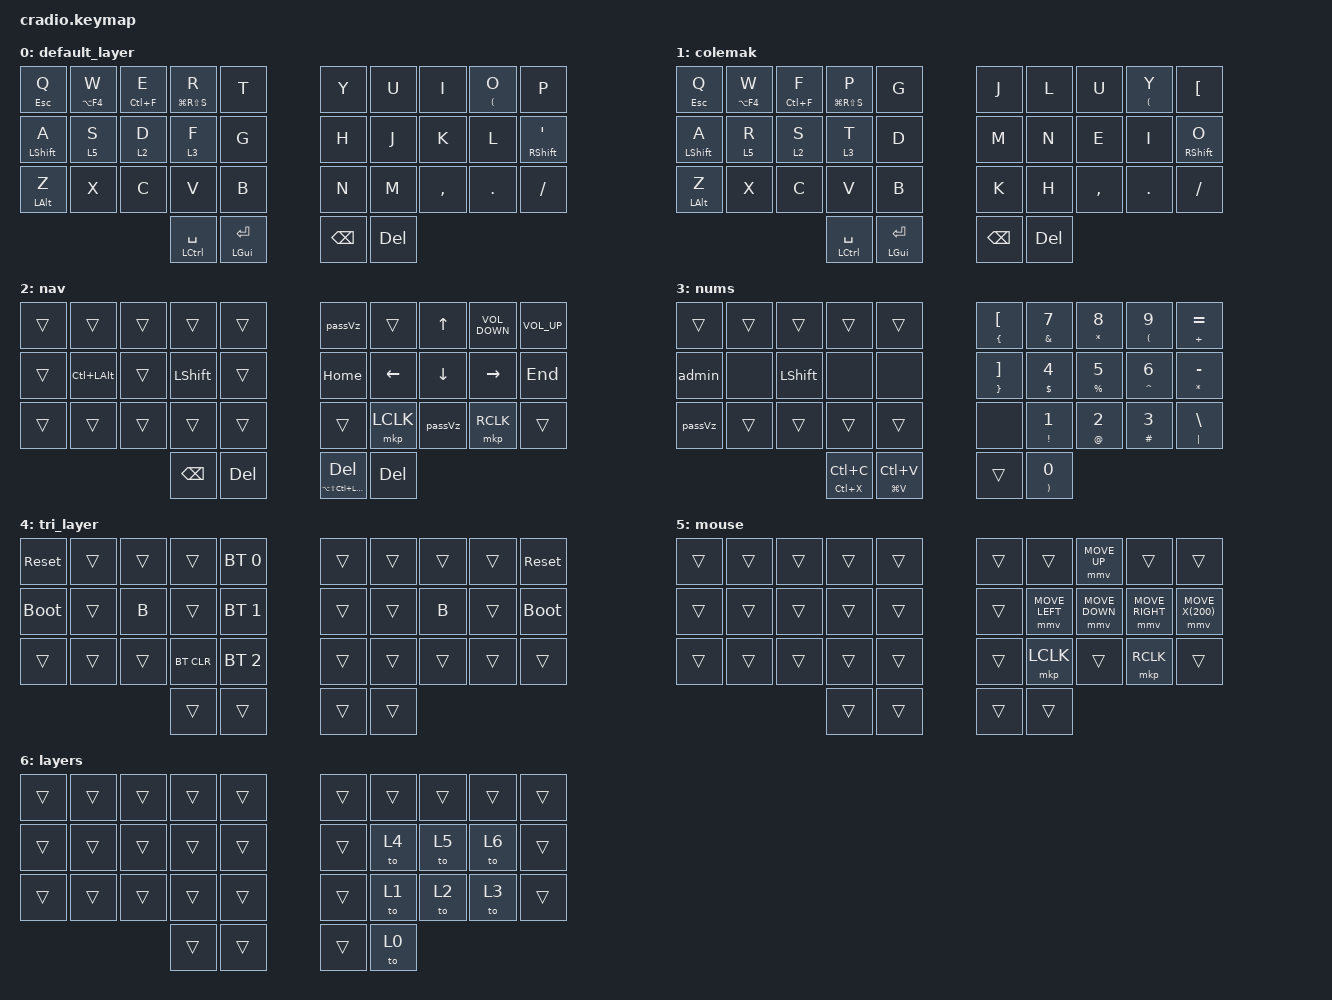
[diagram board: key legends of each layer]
// Copyright (c) 2022 The ZMK Contributors
// SPDX-License-Identifier: MIT

#define ZMK_POINTING_DEFAULT_MOVE_VAL 1500  // default: 1500
#define ZMK_POINTING_DEFAULT_SCRL_VAL 30    // default: 20

#include <behaviors.dtsi>
#include <dt-bindings/zmk/bt.h>
#include <dt-bindings/zmk/keys.h>
#include <dt-bindings/zmk/pointing.h>

// Home row mods macro

#define HRML(k1,k2,k3,k4) &ht LSHFT k1  &ht LALT k2  &ht LCTRL k3  &ht LGUI k4
#define HRMR(k1,k2,k3,k4) &ht RGUI k1  &ht RCTRL k2  &ht RALT k3  &ht RSHFT k4

/ {
    behaviors {
        ht: hold_tap {
            compatible = "zmk,behavior-hold-tap";
            #binding-cells = <2>;
            flavor = "tap-preferred";
            tapping-term-ms = <240>;
            quick-tap-ms = <220>;
            require-prior-idle-ms = <100>;
            bindings = <&kp>, <&kp>;
        };
    };

    conditional_layers {
        compatible = "zmk,conditional-layers";

        tri_layer {
            if-layers = <2 3>;
            then-layer = <4>;
        };
    };

    combos {
        compatible = "zmk,combos";

        ltab {
            bindings = <&kp LS(TAB)>;
            key-positions = <17 16>;
        };

        tab {
            bindings = <&kp TAB>;
            key-positions = <17 18>;
            layers = <2 0 4 6>;
        };

        winLeft {
            bindings = <&kp LG(LEFT_ARROW)>;
            key-positions = <11 12>;
            layers = <0 2 4 3 6>;
        };

        winRight {
            bindings = <&kp LG(RIGHT_ARROW)>;
            key-positions = <12 13>;
        };

        pv {
            bindings = <&kp SEMI>;
            key-positions = <27 28>;
        };

        quotes {
            bindings = <&kp SQT>;
            key-positions = <18 19>;
        };

        to-nav {
            bindings = <&to 0>;
            key-positions = <16 17 18>;
            layers = <1 0>;
        };

        to-default {
            bindings = <&to 0>;
            key-positions = <16 17 18>;
            layers = <2>;
        };

        to-layers {
            bindings = <&to 6>;
            key-positions = <9 19 29>;
        };

        win-right {
            bindings = <&kp LG(RIGHT)>;
            key-positions = <7 8>;
        };

        win-left {
            bindings = <&kp LG(LEFT_ARROW)>;
            key-positions = <7 6>;
        };

        caps {
            bindings = <&kp CAPSLOCK>;
            key-positions = <10 11>;
        };

        all-windows {
            bindings = <&kp LA(TAB)>;
            key-positions = <13 12 11>;
        };

        defaultLayer {
            bindings = <&none>;
            key-positions = <0 10 20>;
        };

        winUp {
            bindings = <&kt LG(UP_ARROW)>;
            key-positions = <1 2 3>;
        };

        winDown {
            bindings = <&kp LG(DOWN_ARROW)>;
            key-positions = <21 22 23>;
        };
    };

    macros {
        pass: new_macro {
            compatible = "zmk,behavior-macro";
            #binding-cells = <0>;
            bindings = <&kp U &kp S &kp E &kp R &kp P &kp E &kp P &kp N3 &kp N &kp STAR>;
            label = "NEW_MACRO";
        };

        passVz: pass {
            compatible = "zmk,behavior-macro";
            #binding-cells = <0>;
            bindings = <&kp U &kp S &kp E &kp R &kp P &kp E &kp P &kp N3 &kp N &kp STAR &kp LS(V) &kp LS(T) &kp N2 &kp N5 &kp N0 &kp N8 &kp N0 &kp N4>;
            label = "PASS";
        };

        admin: admin {
            compatible = "zmk,behavior-macro";
            #binding-cells = <0>;
            bindings = <&kp A &kp D &kp M &kp I &kp N &kp TAB &kp A &kp D &kp M &kp I &kp N &kp ENTER>;
            label = "ADMIN";
        };
    };

    keymap {
        compatible = "zmk,keymap";

        default_layer {
            bindings = <
&mt ESC Q         &mt LA(F4) W  &mt LC(F) E  &mt LG(RS(S)) R         &kp T                 &kp Y          &kp U       &kp I      &mt LPAR O  &kp P
&mt LEFT_SHIFT A  &lt 5 S       &lt 2 D      &lt 3 F                 &kp G                 &kp H          &kp J       &kp K      &kp L       &mt RSHFT SQT
&mt LEFT_ALT Z    &kp X         &kp C        &kp V                   &kp B                 &kp N          &kp M       &kp COMMA  &kp DOT     &kp FSLH
                                             &mt LEFT_CONTROL SPACE  &mt LEFT_GUI ENTER    &kp BACKSPACE  &kp DELETE
            >;
        };

        colemak {
            bindings = <
&mt ESC Q         &mt LA(F4) W  &mt LC(F) F  &mt LG(RS(S)) P         &kp G                 &kp J          &kp L       &kp U      &mt LPAR Y  &kp LBKT
&mt LEFT_SHIFT A  &lt 5 R       &lt 2 S      &lt 3 T                 &kp D                 &kp M          &kp N       &kp E      &kp I       &mt RSHFT O
&mt LEFT_ALT Z    &kp X         &kp C        &kp V                   &kp B                 &kp K          &kp H       &kp COMMA  &kp DOT     &kp FSLH
                                             &mt LEFT_CONTROL SPACE  &mt LEFT_GUI ENTER    &kp BACKSPACE  &kp DELETE
            >;
        };

        nav {
            bindings = <
&trans  &trans            &trans  &trans          &trans        &passVz                          &trans     &kp UP    &kp C_VOLUME_DOWN  &kp C_VOLUME_UP
&trans  &kp LC(LEFT_ALT)  &trans  &kp LEFT_SHIFT  &trans        &kp HOME                         &kp LEFT   &kp DOWN  &kp RIGHT          &kp END
&trans  &trans            &trans  &trans          &trans        &trans                           &mkp LCLK  &passVz   &mkp RCLK          &trans
                                  &kp BACKSPACE   &kp DELETE    &mt LA(LS(LC(LEFT_GUI))) DELETE  &kp DEL
            >;
        };

        nums {
            bindings = <
&trans   &trans  &trans          &trans           &trans             &mt LBRC LBKT           &mt AMPERSAND NUMBER_7          &mt ASTERISK NUMBER_8  &mt LPAR NUMBER_9   &mt PLUS EQUAL
&admin   &none   &kp LEFT_SHIFT  &none            &none              &mt RBRC RIGHT_BRACKET  &mt DLLR NUMBER_4               &mt PERCENT NUMBER_5   &mt CARET NUMBER_6  &mt ASTRK MINUS
&passVz  &trans  &trans          &trans           &trans             &none                   &mt EXCL NUMBER_1               &mt AT NUMBER_2        &mt HASH NUMBER_3   &mt PIPE BACKSLASH
                                 &mt LC(X) LC(C)  &mt LG(V) LC(V)    &trans                  &mt RIGHT_PARENTHESIS NUMBER_0
            >;
        };

        tri_layer {
            bindings = <
&sys_reset   &trans  &trans  &trans      &bt BT_SEL 0    &trans  &trans  &trans  &trans  &sys_reset
&bootloader  &trans  &kp B   &trans      &bt BT_SEL 1    &trans  &trans  &kp B   &trans  &bootloader
&trans       &trans  &trans  &bt BT_CLR  &bt BT_SEL 2    &trans  &trans  &trans  &trans  &trans
                             &trans      &trans          &trans  &trans
            >;
        };

        mouse {
            bindings = <
&trans  &trans  &trans  &trans  &trans    &trans  &trans          &mmv MOVE_UP    &trans           &trans
&trans  &trans  &trans  &trans  &trans    &trans  &mmv MOVE_LEFT  &mmv MOVE_DOWN  &mmv MOVE_RIGHT  &mmv MOVE_X(200)
&trans  &trans  &trans  &trans  &trans    &trans  &mkp LCLK       &trans          &mkp RCLK        &trans
                        &trans  &trans    &trans  &trans
            >;

            label = "mouse";
        };

        layers {
            bindings = <
&trans  &trans  &trans  &trans  &trans    &trans  &trans  &trans  &trans  &trans
&trans  &trans  &trans  &trans  &trans    &trans  &to 4   &to 5   &to 6   &trans
&trans  &trans  &trans  &trans  &trans    &trans  &to 1   &to 2   &to 3   &trans
                        &trans  &trans    &trans  &to 0
            >;
        };
    };
};
